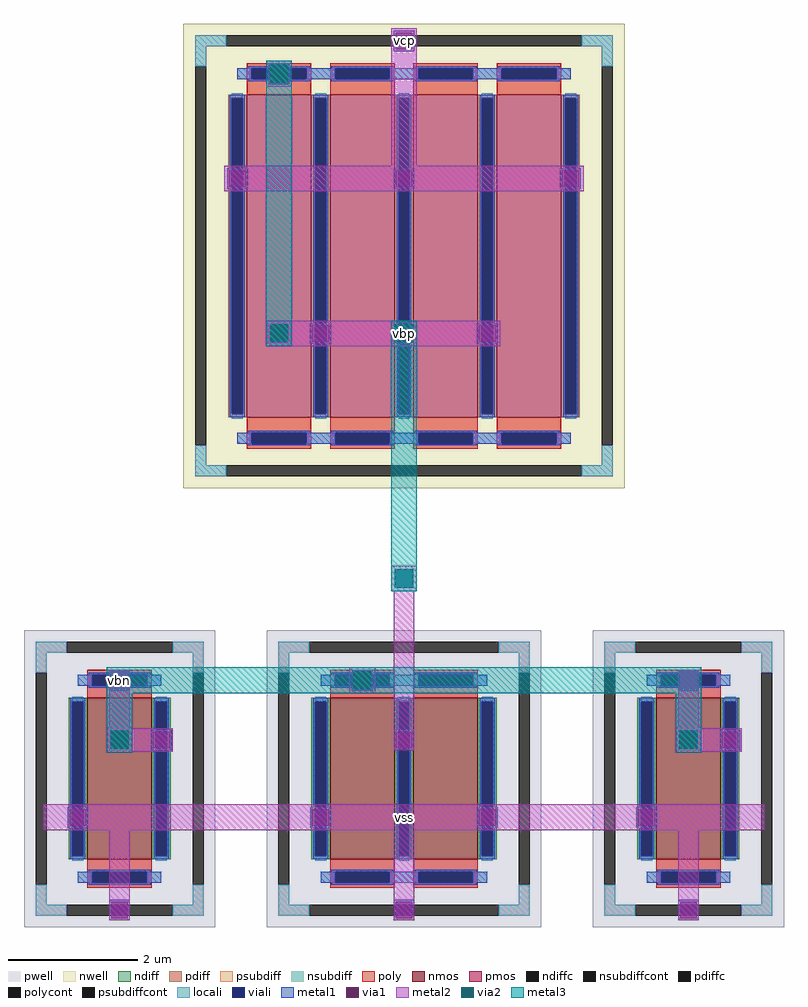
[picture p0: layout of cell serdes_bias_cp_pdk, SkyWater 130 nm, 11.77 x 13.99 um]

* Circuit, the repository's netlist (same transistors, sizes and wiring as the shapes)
* NGSPICE file created from serdes_bias_cp_pdk.ext - technology: sky130A

.subckt serdes_bias_cp_pdk vbn vbp vcp vss
X0 vcp vbp vbp vcp sky130_fd_pr__pfet_01v8 ad=1.45 pd=10.58 as=0.725 ps=5.29 w=5 l=1
X1 vbn vbn vss vss sky130_fd_pr__nfet_01v8 ad=0.725 pd=5.58 as=0.725 ps=5.58 w=2.5 l=1
X2 vbp vbp vcp vcp sky130_fd_pr__pfet_01v8 ad=0.725 pd=5.29 as=0.725 ps=5.29 w=5 l=1
X3 vbn vbn vss vss sky130_fd_pr__nfet_01v8 ad=0.725 pd=5.58 as=0.725 ps=5.58 w=2.5 l=1
X4 vcp vbp vbp vcp sky130_fd_pr__pfet_01v8 ad=0.725 pd=5.29 as=0.725 ps=5.29 w=5 l=1
X5 vbp vbn vss vss sky130_fd_pr__nfet_01v8 ad=0.3625 pd=2.79 as=0.725 ps=5.58 w=2.5 l=1
X6 vss vbn vbp vss sky130_fd_pr__nfet_01v8 ad=0.725 pd=5.58 as=0.3625 ps=2.79 w=2.5 l=1
X7 vbp vbp vcp vcp sky130_fd_pr__pfet_01v8 ad=0.725 pd=5.29 as=1.45 ps=10.58 w=5 l=1
.ends

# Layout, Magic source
magic
tech sky130A
magscale 1 2
<< pwell >>
rect -1177 -460 -585 460
rect -425 -460 425 460
rect 585 -460 1177 460
<< nmos >>
rect -981 -250 -781 250
rect -229 -250 -29 250
rect 29 -250 229 250
rect 781 -250 981 250
<< ndiff >>
rect -1039 238 -981 250
rect -1039 -238 -1027 238
rect -993 -238 -981 238
rect -1039 -250 -981 -238
rect -781 238 -723 250
rect -781 -238 -769 238
rect -735 -238 -723 238
rect -781 -250 -723 -238
rect -287 238 -229 250
rect -287 -238 -275 238
rect -241 -238 -229 238
rect -287 -250 -229 -238
rect -29 238 29 250
rect -29 -238 -17 238
rect 17 -238 29 238
rect -29 -250 29 -238
rect 229 238 287 250
rect 229 -238 241 238
rect 275 -238 287 238
rect 229 -250 287 -238
rect 723 238 781 250
rect 723 -238 735 238
rect 769 -238 781 238
rect 723 -250 781 -238
rect 981 238 1039 250
rect 981 -238 993 238
rect 1027 -238 1039 238
rect 981 -250 1039 -238
<< ndiffc >>
rect -1027 -238 -993 238
rect -769 -238 -735 238
rect -275 -238 -241 238
rect -17 -238 17 238
rect 241 -238 275 238
rect 735 -238 769 238
rect 993 -238 1027 238
<< psubdiff >>
rect -1141 390 -1045 424
rect -717 390 -621 424
rect -1141 328 -1107 390
rect -655 328 -621 390
rect -1141 -390 -1107 -328
rect -655 -390 -621 -328
rect -1141 -424 -1045 -390
rect -717 -424 -621 -390
rect -389 390 -293 424
rect 293 390 389 424
rect -389 328 -355 390
rect 355 328 389 390
rect -389 -390 -355 -328
rect 355 -390 389 -328
rect -389 -424 -293 -390
rect 293 -424 389 -390
rect 621 390 717 424
rect 1045 390 1141 424
rect 621 328 655 390
rect 1107 328 1141 390
rect 621 -390 655 -328
rect 1107 -390 1141 -328
rect 621 -424 717 -390
rect 1045 -424 1141 -390
<< psubdiffcont >>
rect -1045 390 -717 424
rect -1141 -328 -1107 328
rect -655 -328 -621 328
rect -1045 -424 -717 -390
rect -293 390 293 424
rect -389 -328 -355 328
rect 355 -328 389 328
rect -293 -424 293 -390
rect 717 390 1045 424
rect 621 -328 655 328
rect 1107 -328 1141 328
rect 717 -424 1045 -390
<< poly >>
rect -981 322 -781 338
rect -981 288 -965 322
rect -797 288 -781 322
rect -981 250 -781 288
rect -981 -288 -781 -250
rect -981 -322 -965 -288
rect -797 -322 -781 -288
rect -981 -338 -781 -322
rect -229 322 -29 338
rect -229 288 -213 322
rect -45 288 -29 322
rect -229 250 -29 288
rect 29 322 229 338
rect 29 288 45 322
rect 213 288 229 322
rect 29 250 229 288
rect -229 -288 -29 -250
rect -229 -322 -213 -288
rect -45 -322 -29 -288
rect -229 -338 -29 -322
rect 29 -288 229 -250
rect 29 -322 45 -288
rect 213 -322 229 -288
rect 29 -338 229 -322
rect 781 322 981 338
rect 781 288 797 322
rect 965 288 981 322
rect 781 250 981 288
rect 781 -288 981 -250
rect 781 -322 797 -288
rect 965 -322 981 -288
rect 781 -338 981 -322
rect -487 2200 -287 2216
rect -487 2166 -471 2200
rect -303 2166 -287 2200
rect -487 2119 -287 2166
rect -229 2200 -29 2216
rect -229 2166 -213 2200
rect -45 2166 -29 2200
rect -229 2119 -29 2166
rect 29 2200 229 2216
rect 29 2166 45 2200
rect 213 2166 229 2200
rect 29 2119 229 2166
rect 287 2200 487 2216
rect 287 2166 303 2200
rect 471 2166 487 2200
rect 287 2119 487 2166
rect -487 1072 -287 1119
rect -487 1038 -471 1072
rect -303 1038 -287 1072
rect -487 1022 -287 1038
rect -229 1072 -29 1119
rect -229 1038 -213 1072
rect -45 1038 -29 1072
rect -229 1022 -29 1038
rect 29 1072 229 1119
rect 29 1038 45 1072
rect 213 1038 229 1072
rect 29 1022 229 1038
rect 287 1072 487 1119
rect 287 1038 303 1072
rect 471 1038 487 1072
rect 287 1022 487 1038
<< polycont >>
rect -965 288 -797 322
rect -965 -322 -797 -288
rect -213 288 -45 322
rect 45 288 213 322
rect -213 -322 -45 -288
rect 45 -322 213 -288
rect 797 288 965 322
rect 797 -322 965 -288
rect -471 2166 -303 2200
rect -213 2166 -45 2200
rect 45 2166 213 2200
rect 303 2166 471 2200
rect -471 1038 -303 1072
rect -213 1038 -45 1072
rect 45 1038 213 1072
rect 303 1038 471 1072
<< locali >>
rect -1141 390 -1045 424
rect -717 390 -621 424
rect -1141 328 -1107 390
rect -655 328 -621 390
rect -1010 288 -965 322
rect -797 288 -752 322
rect -1027 238 -993 254
rect -1027 -254 -993 -238
rect -769 238 -735 254
rect -769 -254 -735 -238
rect -1010 -322 -965 -288
rect -797 -322 -752 -288
rect -1141 -390 -1107 -328
rect -655 -390 -621 -328
rect -1141 -424 -1045 -390
rect -717 -424 -621 -390
rect -389 390 -293 424
rect 293 390 389 424
rect -389 328 -355 390
rect 355 328 389 390
rect -258 288 -213 322
rect -45 288 45 322
rect 213 288 258 322
rect -275 238 -241 254
rect -275 -254 -241 -238
rect -17 238 17 254
rect -17 -254 17 -238
rect 241 238 275 254
rect 241 -254 275 -238
rect -258 -322 -213 -288
rect -45 -322 45 -288
rect 213 -322 258 -288
rect -389 -390 -355 -328
rect 355 -390 389 -328
rect -389 -424 -293 -390
rect 293 -424 389 -390
rect 621 390 717 424
rect 1045 390 1141 424
rect 621 328 655 390
rect 1107 328 1141 390
rect 752 288 797 322
rect 965 288 1010 322
rect 735 238 769 254
rect 735 -254 769 -238
rect 993 238 1027 254
rect 993 -254 1027 -238
rect 752 -322 797 -288
rect 965 -322 1010 -288
rect 621 -390 655 -328
rect 1107 -390 1141 -328
rect 621 -424 717 -390
rect 1045 -424 1141 -390
rect -647 2268 -551 2302
rect 551 2268 647 2302
rect -647 2206 -613 2268
rect 613 2206 647 2268
rect -516 2166 -471 2200
rect -303 2166 -213 2200
rect -45 2166 45 2200
rect 213 2166 303 2200
rect 471 2166 516 2200
rect -533 2107 -499 2123
rect -533 1115 -499 1131
rect -275 2107 -241 2123
rect -275 1115 -241 1131
rect -17 2107 17 2123
rect -17 1115 17 1131
rect 241 2107 275 2123
rect 241 1115 275 1131
rect 499 2107 533 2123
rect 499 1115 533 1131
rect -516 1038 -471 1072
rect -303 1038 -213 1072
rect -45 1038 45 1072
rect 213 1038 303 1072
rect 471 1038 516 1072
rect -647 970 -613 1032
rect 613 970 647 1032
rect -647 936 -551 970
rect 551 936 647 970
<< viali >>
rect -965 288 -797 322
rect -1027 -238 -993 238
rect -769 -238 -735 238
rect -965 -322 -797 -288
rect -213 288 -45 322
rect 45 288 213 322
rect -275 -238 -241 238
rect -17 -238 17 238
rect 241 -238 275 238
rect -213 -322 -45 -288
rect 45 -322 213 -288
rect 797 288 965 322
rect 735 -238 769 238
rect 993 -238 1027 238
rect 797 -322 965 -288
rect -471 2166 -303 2200
rect -213 2166 -45 2200
rect 45 2166 213 2200
rect 303 2166 471 2200
rect -533 1131 -499 2107
rect -275 1131 -241 2107
rect -17 1131 17 2107
rect 241 1131 275 2107
rect 499 1131 533 2107
rect -471 1038 -303 1072
rect -213 1038 -45 1072
rect 45 1038 213 1072
rect 303 1038 471 1072
rect -898 -424 -864 -390
rect 864 -424 898 -390
rect -17 -424 17 -390
rect -17 2268 17 2302
<< metal1 >>
rect -977 322 -785 328
rect -1010 288 -965 322
rect -797 288 -752 322
rect -977 282 -785 288
rect -1033 238 -987 250
rect -1033 -238 -1027 238
rect -993 -238 -987 238
rect -1033 -250 -987 -238
rect -775 238 -729 250
rect -775 -238 -769 238
rect -735 -238 -729 238
rect -775 -250 -729 -238
rect -977 -288 -785 -282
rect -1010 -322 -965 -288
rect -797 -322 -752 -288
rect -977 -328 -785 -322
rect -225 322 -33 328
rect 33 322 225 328
rect -258 288 -213 322
rect -45 288 45 322
rect 213 288 258 322
rect -225 282 -33 288
rect 33 282 225 288
rect -281 238 -235 250
rect -281 -238 -275 238
rect -241 -238 -235 238
rect -281 -250 -235 -238
rect -23 238 23 250
rect -23 -238 -17 238
rect 17 -238 23 238
rect -23 -250 23 -238
rect 235 238 281 250
rect 235 -238 241 238
rect 275 -238 281 238
rect 235 -250 281 -238
rect -225 -288 -33 -282
rect 33 -288 225 -282
rect -258 -322 -213 -288
rect -45 -322 45 -288
rect 213 -322 258 -288
rect -225 -328 -33 -322
rect 33 -328 225 -322
rect 785 322 977 328
rect 752 288 797 322
rect 965 288 1010 322
rect 785 282 977 288
rect 729 238 775 250
rect 729 -238 735 238
rect 769 -238 775 238
rect 729 -250 775 -238
rect 987 238 1033 250
rect 987 -238 993 238
rect 1027 -238 1033 238
rect 987 -250 1033 -238
rect 785 -288 977 -282
rect 752 -322 797 -288
rect 965 -322 1010 -288
rect 785 -328 977 -322
rect -483 2200 -291 2206
rect -225 2200 -33 2206
rect 33 2200 225 2206
rect 291 2200 483 2206
rect -516 2166 -471 2200
rect -303 2166 -213 2200
rect -45 2166 45 2200
rect 213 2166 303 2200
rect 471 2166 516 2200
rect -483 2160 -291 2166
rect -225 2160 -33 2166
rect 33 2160 225 2166
rect 291 2160 483 2166
rect -539 2107 -493 2119
rect -539 1131 -533 2107
rect -499 1131 -493 2107
rect -539 1119 -493 1131
rect -281 2107 -235 2119
rect -281 1131 -275 2107
rect -241 1131 -235 2107
rect -281 1119 -235 1131
rect -23 2107 23 2119
rect -23 1131 -17 2107
rect 17 1131 23 2107
rect -23 1119 23 1131
rect 235 2107 281 2119
rect 235 1131 241 2107
rect 275 1131 281 2107
rect 235 1119 281 1131
rect 493 2107 539 2119
rect 493 1131 499 2107
rect 533 1131 539 2107
rect 493 1119 539 1131
rect -483 1072 -291 1078
rect -225 1072 -33 1078
rect 33 1072 225 1078
rect 291 1072 483 1078
rect -516 1038 -471 1072
rect -303 1038 -213 1072
rect -45 1038 45 1072
rect 213 1038 303 1072
rect 471 1038 516 1072
rect -483 1032 -291 1038
rect -225 1032 -33 1038
rect 33 1032 225 1038
rect 291 1032 483 1038
rect -784 88 -720 152
rect -1042 -152 -978 -88
rect -913 273 -849 337
rect -913 -439 -849 -375
rect -913 -439 -849 -375
rect 978 88 1042 152
rect 720 -152 784 -88
rect 849 273 913 337
rect 849 -439 913 -375
rect 849 -439 913 -375
rect -32 88 32 152
rect -290 -152 -226 -88
rect 226 -152 290 -88
rect -161 273 -97 337
rect -32 -439 32 -375
rect -32 -439 32 -375
rect -290 1347 -226 1411
rect 226 1347 290 1411
rect -548 1827 -484 1891
rect -32 1827 32 1891
rect 484 1827 548 1891
rect -419 2151 -355 2215
rect -32 2253 32 2317
rect -32 2253 32 2317
<< nwell >>
rect -683 900 683 2338
<< pmos >>
rect -487 1119 -287 2119
rect -229 1119 -29 2119
rect 29 1119 229 2119
rect 287 1119 487 2119
<< pdiff >>
rect -545 2107 -487 2119
rect -545 1131 -533 2107
rect -499 1131 -487 2107
rect -545 1119 -487 1131
rect -287 2107 -229 2119
rect -287 1131 -275 2107
rect -241 1131 -229 2107
rect -287 1119 -229 1131
rect -29 2107 29 2119
rect -29 1131 -17 2107
rect 17 1131 29 2107
rect -29 1119 29 1131
rect 229 2107 287 2119
rect 229 1131 241 2107
rect 275 1131 287 2107
rect 229 1119 287 1131
rect 487 2107 545 2119
rect 487 1131 499 2107
rect 533 1131 545 2107
rect 487 1119 545 1131
<< pdiffc >>
rect -533 1131 -499 2107
rect -275 1131 -241 2107
rect -17 1131 17 2107
rect 241 1131 275 2107
rect 499 1131 533 2107
<< nsubdiff >>
rect -647 2268 -551 2302
rect 551 2268 647 2302
rect -647 2206 -613 2268
rect 613 2206 647 2268
rect -647 970 -613 1032
rect 613 970 647 1032
rect -647 936 -551 970
rect 551 936 647 970
<< nsubdiffcont >>
rect -551 2268 551 2302
rect -647 1032 -613 2206
rect 613 1032 647 2206
rect -551 936 551 970
<< via1 >>
rect -778 94 -726 146
rect -1036 -146 -984 -94
rect -907 279 -855 331
rect -907 -433 -855 -381
rect 984 94 1036 146
rect 726 -146 778 -94
rect 855 279 907 331
rect 855 -433 907 -381
rect -26 94 26 146
rect -284 -146 -232 -94
rect 232 -146 284 -94
rect -155 279 -103 331
rect -26 -433 26 -381
rect -284 1353 -232 1405
rect 232 1353 284 1405
rect -542 1833 -490 1885
rect -26 1833 26 1885
rect 490 1833 542 1885
rect -413 2157 -361 2209
rect -26 2259 26 2311
<< metal2 >>
rect -784 88 -720 152
rect -784 88 -720 152
rect -1042 -152 -978 -88
rect -1042 -152 -978 -88
rect -788 84 -716 156
rect -1046 -156 -974 -84
rect -913 273 -849 337
rect -913 88 -849 337
rect -917 84 -716 156
rect -913 -439 -849 -375
rect -913 -439 -849 -88
rect -1046 -156 -845 -84
rect 978 88 1042 152
rect 978 88 1042 152
rect 720 -152 784 -88
rect 720 -152 784 -88
rect 974 84 1046 156
rect 716 -156 788 -84
rect 849 273 913 337
rect 849 88 913 337
rect 845 84 1046 156
rect 849 -439 913 -375
rect 849 -439 913 -88
rect 716 -156 917 -84
rect -32 88 32 152
rect -32 88 32 652
rect -290 -152 -226 -88
rect -290 -152 -226 -88
rect 226 -152 290 -88
rect 226 -152 290 -88
rect -36 584 36 656
rect -294 -156 294 -84
rect -161 273 -97 337
rect -169 265 -89 345
rect -32 -439 32 -375
rect -32 -439 32 -88
rect -1117 -160 1117 -80
rect -921 80 -841 160
rect 841 80 921 160
rect -290 1347 -226 1411
rect -290 1347 -226 1411
rect 226 1347 290 1411
rect 226 1347 290 1411
rect -548 1827 -484 1891
rect -548 1827 -484 1891
rect -32 1827 32 1891
rect -32 1827 32 1891
rect 484 1827 548 1891
rect 484 1827 548 1891
rect -298 1339 298 1419
rect -556 1819 556 1899
rect -419 2151 -355 2215
rect -427 2143 -347 2223
rect -427 1339 -347 1419
rect -427 1339 298 1419
rect -40 580 40 660
rect -40 1339 40 1419
rect -32 2253 32 2317
rect -40 1819 40 2325
<< via2 >>
rect -157 277 -101 333
rect -909 92 -853 148
rect 853 92 909 148
rect -415 2155 -359 2211
rect -415 1351 -359 1407
rect -28 592 28 648
rect -28 1351 28 1407
<< metal3 >>
rect -169 265 -89 345
rect -921 80 -841 160
rect 841 80 921 160
rect -921 265 -89 345
rect -921 80 -841 345
rect -169 265 921 345
rect 841 80 921 345
rect -427 2143 -347 2223
rect -427 1339 -347 1419
rect -427 1339 -347 2223
rect -40 580 40 660
rect -40 1339 40 1419
rect -40 580 40 1419
<< labels >>
rlabel metal3 -881 305 -881 305 0 vbn
port 1 nsew
rlabel metal3 0 1379 0 1379 0 vbp
port 2 nsew
rlabel metal2 0 2285 0 2285 0 vcp
port 3 nsew
rlabel metal2 0 -120 0 -120 0 vss
port 4 nsew
<< end >>
